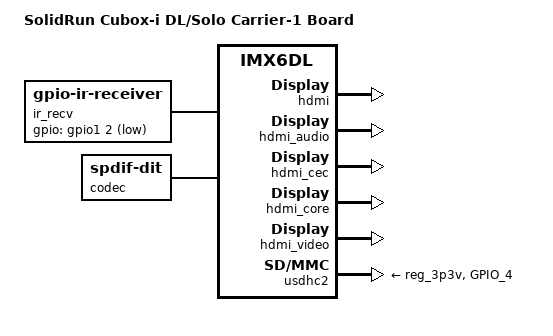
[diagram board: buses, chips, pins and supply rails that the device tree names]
/*
 * Copyright (C) 2013 Russell King
 *
 * The code contained herein is licensed under the GNU General Public
 * License version 2.
 */
/dts-v1/;

#include "imx6dl.dtsi"
#include "imx6qdl-microsom.dtsi"
#include "imx6qdl-microsom-ar8035.dtsi"

/ {
	model = "SolidRun Cubox-i DL/Solo Carrier-1 Board";
	compatible = "solidrun,cubox-i-carrier-1", "fsl,imx6dl";

        aliases {
                mxcfb0 = &mxcfb1;
	};

	ir_recv: ir-receiver {
		compatible = "gpio-ir-receiver";
		gpios = <&gpio1 2 1>;
		pinctrl-names = "default";
		pinctrl-0 = <&pinctrl_gpio1_2_carrier_1>;
	};

	codec: spdif-transmitter {
		compatible = "linux,spdif-dit";
		pinctrl-names = "default";
		pinctrl-0 = <&pinctrl_spdif_2_out_only>;
	};

	sound-spdif {
		compatible = "fsl,imx-audio-spdif";
		model = "imx-spdif";
		/* IMX6 doesn't implement this yet */
		spdif-controller = <&spdif>;
		spdif-out;
	};

        mxcfb1: fb@0 {
                compatible = "fsl,mxc_sdc_fb";
                disp_dev = "hdmi";
                interface_pix_fmt = "RGB24";
                mode_str ="1280x720@60";
                default_bpp = <24>;
                int_clk = <0>;
                late_init = <0>;
                status = "okay";
        };
};

&hdmi {
	ddc = <&i2c2>;
	status = "okay";
	crtcs = <&ipu1 0>;
};

&hdmi_audio {
        status = "okay";
};

&hdmi_cec {
        pinctrl-names = "default";
        pinctrl-0 = <&pinctrl_hdmi_cec_2>;
        status = "okay";
};

&hdmi_core {
        ipu_id = <0>;
        disp_id = <0>;
        status = "okay";
};

&hdmi_video {
        pinctrl-names = "default";
        pinctrl-0 = <&pinctrl_hdmi_hdcp_1>;
        fsl,phy_reg_vlev = <0x0294>;
        fsl,phy_reg_cksymtx = <0x800d>;
	fsl,hdcp;
        status = "okay";
};

&i2c1 {
	pinctrl-names = "default";
	pinctrl-0 = <&pinctrl_i2c1_1>;

	/*
	 * Not fitted on Carrier-1 board... yet
	status = "okay";

	rtc: pcf8523@68 {
		compatible = "nxp,pcf8523";
		reg = <0x68>;
	};
	 */
};

&i2c2 {
	clock-frequency = <100000>;
	pinctrl-names = "default";
	pinctrl-0 = <&pinctrl_i2c2_2>;
	status = "disable";
};

&iomuxc {
	ir_recv {
		pinctrl_gpio1_2_carrier_1: gpio1_2grp {
			fsl,pins = <
				MX6QDL_PAD_GPIO_2__GPIO1_IO02	0x80000000
			>;
		};
	};

	sound-spdif {
		pinctrl_spdif_2_out_only: spdifgrp-3 {
			fsl,pins = <
				MX6QDL_PAD_GPIO_17__SPDIF_OUT 0x1b0b0
			>;
		};
	};

	usdhc2 {
		pinctrl_usdhc2_cd_wp: usdhc2_cd_wp {
			fsl,pins = <
				MX6QDL_PAD_GPIO_4__SD2_CD_B	0x1f071
			>;
		};
	};
};

&usdhc2 {
	pinctrl-names = "default";
	pinctrl-0 = <&pinctrl_usdhc2_2_dat3cd &pinctrl_usdhc2_cd_wp>;
	vmmc-supply = <&reg_3p3v>;
	fsl,cd-controller;
	status = "okay";
};
